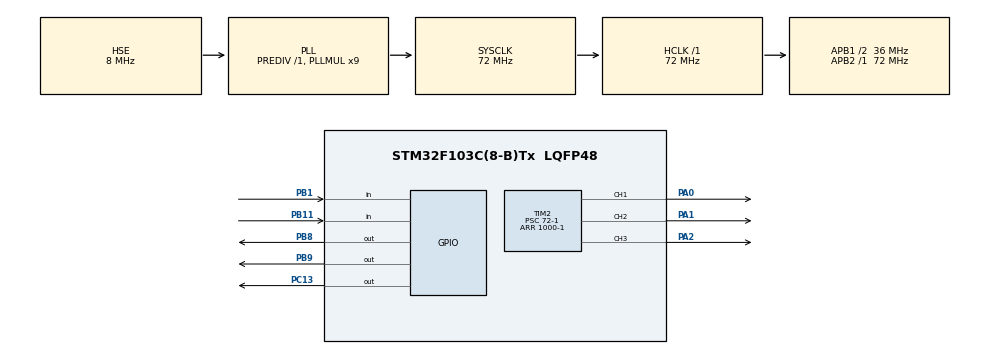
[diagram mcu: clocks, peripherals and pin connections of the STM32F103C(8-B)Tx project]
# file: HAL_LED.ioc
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Mcu.Family=STM32F1
Mcu.Name=STM32F103C(8-B)Tx
Mcu.Package=LQFP48
NVIC.PriorityGroup=NVIC_PRIORITYGROUP_4
NVIC.TIM1_UP_IRQn=true\:0\:0\:false\:false\:true\:true\:true\:true
PA0-WKUP.GPIO_Speed=GPIO_SPEED_FREQ_LOW
PA0-WKUP.Signal=S_TIM2_CH1_ETR
PA1.GPIO_Speed=GPIO_SPEED_FREQ_LOW
PA1.Signal=S_TIM2_CH2
PA13.Mode=Serial_Wire
PA13.Signal=SYS_JTMS-SWDIO
PA14.Mode=Serial_Wire
PA14.Signal=SYS_JTCK-SWCLK
PA2.GPIO_Speed=GPIO_SPEED_FREQ_LOW
PA2.Signal=S_TIM2_CH3
PB1.GPIO_Mode=GPIO_MODE_INPUT
PB1.GPIO_PuPd=GPIO_PULLUP
PB1.Signal=GPIO_Input
PB11.GPIO_PuPd=GPIO_PULLUP
PB11.Signal=GPIO_Input
PB8.GPIO_ModeDefaultOutputPP=GPIO_MODE_OUTPUT_OD
PB8.GPIO_PuPd=GPIO_PULLUP
PB8.GPIO_Speed=GPIO_SPEED_FREQ_MEDIUM
PB8.PinState=GPIO_PIN_SET
PB8.Signal=GPIO_Output
PB9.GPIO_ModeDefaultOutputPP=GPIO_MODE_OUTPUT_OD
PB9.GPIO_PuPd=GPIO_PULLUP
PB9.GPIO_Speed=GPIO_SPEED_FREQ_MEDIUM
PB9.PinState=GPIO_PIN_SET
PB9.Signal=GPIO_Output
PC13-TAMPER-RTC.GPIO_ModeDefaultOutputPP=GPIO_MODE_OUTPUT_OD
PC13-TAMPER-RTC.GPIO_PuPd=GPIO_NOPULL
PC13-TAMPER-RTC.PinState=GPIO_PIN_SET
PC13-TAMPER-RTC.Signal=GPIO_Output
PD0-OSC_IN.Mode=HSE-External-Oscillator
PD0-OSC_IN.Signal=RCC_OSC_IN
PD1-OSC_OUT.Mode=HSE-External-Oscillator
PD1-OSC_OUT.Signal=RCC_OSC_OUT
ProjectManager.HeapSize=0x200
ProjectManager.StackSize=0x400
ProjectManager.TargetToolchain=MDK-ARM V5.32
RCC.AHBFreq_Value=72000000
RCC.APB1CLKDivider=RCC_HCLK_DIV2
RCC.APB1Freq_Value=36000000
RCC.APB1TimFreq_Value=72000000
RCC.APB2Freq_Value=72000000
RCC.APB2TimFreq_Value=72000000
RCC.HCLKFreq_Value=72000000
RCC.PLLMUL=RCC_PLL_MUL9
RCC.PLLSourceVirtual=RCC_PLLSOURCE_HSE
RCC.SYSCLKFreq_VALUE=72000000
RCC.SYSCLKSource=RCC_SYSCLKSOURCE_PLLCLK
RCC.USBFreq_Value=72000000
SH.S_TIM2_CH1_ETR.0=TIM2_CH1,PWM Generation1 CH1
SH.S_TIM2_CH2.0=TIM2_CH2,PWM Generation2 CH2
SH.S_TIM2_CH3.0=TIM2_CH3,PWM Generation3 CH3
TIM1.AutoReloadPreload=TIM_AUTORELOAD_PRELOAD_ENABLE
TIM1.Period=1000-1
TIM1.Prescaler=72-1
TIM2.AutoReloadPreload=TIM_AUTORELOAD_PRELOAD_ENABLE
TIM2.Channel-PWM\ Generation1\ CH1=TIM_CHANNEL_1
TIM2.Channel-PWM\ Generation2\ CH2=TIM_CHANNEL_2
TIM2.Channel-PWM\ Generation3\ CH3=TIM_CHANNEL_3
TIM2.OCPolarity_1=TIM_OCPOLARITY_LOW
TIM2.OCPolarity_2=TIM_OCPOLARITY_LOW
TIM2.OCPolarity_3=TIM_OCPOLARITY_LOW
TIM2.Period=1000-1
TIM2.Prescaler=72-1
TIM2.Pulse-PWM\ Generation1\ CH1=0
TIM2.Pulse-PWM\ Generation2\ CH2=0
TIM2.Pulse-PWM\ Generation3\ CH3=0
TIM3.Period=1000-1
TIM3.Prescaler=72-1
VP_TIM1_VS_ClockSourceINT.Mode=Internal
VP_TIM2_VS_ClockSourceINT.Mode=Internal
VP_TIM3_VS_ClockSourceINT.Mode=Internal
board=custom

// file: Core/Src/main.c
/* USER CODE BEGIN Header */
/**
  ******************************************************************************
  * @file           : main.c
  * @brief          : Main program body
  ******************************************************************************
  * @attention
  *
  * Copyright (c) 2025 STMicroelectronics.
  * All rights reserved.
  *
  * This software is licensed under terms that can be found in the LICENSE file
  * in the root directory of this software component.
  * If no LICENSE file comes with this software, it is provided AS-IS.
  *
  ******************************************************************************
  */
/* USER CODE END Header */
#include "main.h"
#include "tim.h"
#include "gpio.h"

/* USER CODE BEGIN Includes */
#include "math.h"                  // Device header
/* USER CODE END Includes */

/* USER CODE BEGIN PV */
uint16_t Keynum;
uint16_t Keynum1;
uint8_t c;

//quanjubianliang
/* USER CODE END PV */

void SystemClock_Config(void);
/* USER CODE BEGIN PFP */
void Pwm_breath(uint8_t CCRx);
uint16_t Key_getnum1(void);
uint16_t Key_getnum(void);
void pwm_bpm(uint8_t c,uint8_t s);
void Simple_Delay(uint32_t delay);

uint16_t Key_getnum1(void) {
    static uint8_t last_state = 0;
    static uint32_t last_time = 0;
    uint8_t current_state;
    uint32_t current_time = HAL_GetTick();

    current_state = HAL_GPIO_ReadPin(GPIOB, GPIO_PIN_11);

    // 检测按键按下（上升沿）
    if (last_state == 0 && current_state == 1) {
        if ((current_time - last_time) > 20) {
            if(Keynum != 3) {
                Keynum1 = (Keynum1 % 3) + 1;
            } else {
                Keynum1 = (Keynum1 % 4) + 1;
            }
            last_time = current_time;
        }
    }

    last_state = current_state;
    return Keynum1;
}
uint16_t Key_getnum(void) {
    static uint8_t last_state = 0;
    static uint32_t last_time = 0;
    static uint16_t last_Keynum = 0; // 用于记录上一次的Keynum值//用全局变量就不行
    uint8_t current_state;
    uint32_t current_time = HAL_GetTick();

    current_state = HAL_GPIO_ReadPin(GPIOB, GPIO_PIN_1);

    if (last_state == 0 && current_state == 1) {
        if ((current_time - last_time) > 20) {
            Keynum = (Keynum % 3) + 1;
            last_time = current_time;
        }
        if(Keynum != last_Keynum) { // 检测到Keynum变化
            Keynum1 = 1; // Keynum变化，重置Keynum1为1
            last_Keynum = Keynum;
        }
    }

    last_state = current_state;

    return Keynum;
}

void HAL_TIM_PeriodElapsedCallback(TIM_HandleTypeDef *htim)
{
	if(htim == &htim1){
    Key_getnum();
	  Key_getnum1();
	}

}

void Pwm_breath(uint8_t CCRx){
		float t = HAL_GetTick();

		float duty = 0.5*sin(6*3.14*t) + 0.5;

		uint16_t arr = __HAL_TIM_GET_AUTORELOAD(&htim2);

		uint16_t ccr = duty * (arr + 1);
		if(CCRx == 1){
		__HAL_TIM_SET_COMPARE(&htim2, TIM_CHANNEL_1,ccr);
		__HAL_TIM_SET_COMPARE(&htim2, TIM_CHANNEL_2,0);
		__HAL_TIM_SET_COMPARE(&htim2, TIM_CHANNEL_3,0);
		}
		if(CCRx == 2){
		__HAL_TIM_SET_COMPARE(&htim2, TIM_CHANNEL_1,0);
		__HAL_TIM_SET_COMPARE(&htim2, TIM_CHANNEL_2,ccr);
		__HAL_TIM_SET_COMPARE(&htim2, TIM_CHANNEL_3,0);
		}
		if(CCRx == 3){
		__HAL_TIM_SET_COMPARE(&htim2, TIM_CHANNEL_1,0);
		__HAL_TIM_SET_COMPARE(&htim2, TIM_CHANNEL_2,0);
		__HAL_TIM_SET_COMPARE(&htim2, TIM_CHANNEL_3,ccr);
		}
}
void pwm_bpm(uint8_t c,uint8_t s){

	float t = HAL_GetTick();

	float duty = 0.5*sin(s*3.14*t) + 0.5;

	uint16_t arr = __HAL_TIM_GET_AUTORELOAD(&htim2);

	uint16_t ccr = duty * (arr + 1);

	switch(c){
		case 1:{
			__HAL_TIM_SET_COMPARE(&htim2, TIM_CHANNEL_1,ccr);
			__HAL_TIM_SET_COMPARE(&htim2, TIM_CHANNEL_2,0);
			__HAL_TIM_SET_COMPARE(&htim2, TIM_CHANNEL_3,0);
		}break;
		case 2:{
			__HAL_TIM_SET_COMPARE(&htim2, TIM_CHANNEL_1,0);
			__HAL_TIM_SET_COMPARE(&htim2, TIM_CHANNEL_2,ccr);
			__HAL_TIM_SET_COMPARE(&htim2, TIM_CHANNEL_3,0);
		}break;
		case 3:{
			__HAL_TIM_SET_COMPARE(&htim2, TIM_CHANNEL_1,0);
			__HAL_TIM_SET_COMPARE(&htim2, TIM_CHANNEL_2,0);
			__HAL_TIM_SET_COMPARE(&htim2, TIM_CHANNEL_3,ccr);
		}break;
	}
}

/* USER CODE END PFP */

int main(void)
{

  /* MCU Configuration--------------------------------------------------------*/

  /* Reset of all peripherals, Initializes the Flash interface and the Systick. */
  HAL_Init();

  /* Configure the system clock */
  SystemClock_Config();

  /* Initialize all configured peripherals */
  MX_GPIO_Init();
  MX_TIM2_Init();
  MX_TIM1_Init();
  MX_TIM3_Init();
  /* USER CODE BEGIN 2 */
	HAL_Init();
	SystemClock_Config();

	HAL_TIM_Base_Start_IT(&htim2);
	HAL_TIM_Base_Start_IT(&htim1);
	HAL_TIM_Base_Start_IT(&htim3);

	HAL_TIM_PWM_Start(&htim2, TIM_CHANNEL_1);
	HAL_TIM_PWM_Start(&htim2, TIM_CHANNEL_2);
	HAL_TIM_PWM_Start(&htim2, TIM_CHANNEL_3);

  /* USER CODE END 2 */

  /* Infinite loop */
  /* USER CODE BEGIN WHILE */

  while (1)
  {
    switch (Keynum){
    case 1:
		  switch(Keynum1){
		  case 1:
        c = Keynum1;
			  Pwm_breath(1);
			  break;
		  case 2:
        c = Keynum1;
			  Pwm_breath(2);
			  break;
		  case 3:
        c = Keynum1;
			  Pwm_breath(3);
			  break;
	}
      break;
    case 2:
       switch(Keynum1){
        case 1:{
          pwm_bpm(c,6);
        }break;
        case 2:{
          pwm_bpm(c,4);
        }break;
        case 3:{
          pwm_bpm(c,2);
        }break;
  }
      break;
    case 3:
    __HAL_TIM_SET_COMPARE(&htim2, TIM_CHANNEL_1,0);
    __HAL_TIM_SET_COMPARE(&htim2, TIM_CHANNEL_2,0);
    __HAL_TIM_SET_COMPARE(&htim2, TIM_CHANNEL_3,0);

      switch(Keynum1){
    case 1:{
      __HAL_TIM_SET_COMPARE(&htim2, TIM_CHANNEL_1,1000);
      HAL_Delay(100);
      __HAL_TIM_SET_COMPARE(&htim2, TIM_CHANNEL_1,0);
      HAL_Delay(100);
    }break;
    case 2:{
      __HAL_TIM_SET_COMPARE(&htim2, TIM_CHANNEL_2,1000);
      HAL_Delay(100);
      __HAL_TIM_SET_COMPARE(&htim2, TIM_CHANNEL_2,0);
      HAL_Delay(100);
    }break;
    case 3:{
      __HAL_TIM_SET_COMPARE(&htim2, TIM_CHANNEL_3,1000);
      HAL_Delay(100);
      __HAL_TIM_SET_COMPARE(&htim2, TIM_CHANNEL_3,0);
      HAL_Delay(100);
    }break;
    case 4:{
      __HAL_TIM_SET_COMPARE(&htim2, TIM_CHANNEL_1,1000);
      HAL_Delay(100);
      __HAL_TIM_SET_COMPARE(&htim2, TIM_CHANNEL_1,0);
      HAL_Delay(100);
      __HAL_TIM_SET_COMPARE(&htim2, TIM_CHANNEL_2,1000);
      HAL_Delay(100);
      __HAL_TIM_SET_COMPARE(&htim2, TIM_CHANNEL_2,0);
      HAL_Delay(100);
      __HAL_TIM_SET_COMPARE(&htim2, TIM_CHANNEL_3,1000);
      HAL_Delay(100);
      __HAL_TIM_SET_COMPARE(&htim2, TIM_CHANNEL_3,0);
    }
  }
      break;
    }

    /* USER CODE END WHILE */

  }
}

void SystemClock_Config(void)
{
  RCC_OscInitTypeDef RCC_OscInitStruct = {0};
  RCC_ClkInitTypeDef RCC_ClkInitStruct = {0};

  /** Initializes the RCC Oscillators according to the specified parameters
  * in the RCC_OscInitTypeDef structure.
  */
  RCC_OscInitStruct.OscillatorType = RCC_OSCILLATORTYPE_HSE;
  RCC_OscInitStruct.HSEState = RCC_HSE_ON;
  RCC_OscInitStruct.HSEPredivValue = RCC_HSE_PREDIV_DIV1;
  RCC_OscInitStruct.HSIState = RCC_HSI_ON;
  RCC_OscInitStruct.PLL.PLLState = RCC_PLL_ON;
  RCC_OscInitStruct.PLL.PLLSource = RCC_PLLSOURCE_HSE;
  RCC_OscInitStruct.PLL.PLLMUL = RCC_PLL_MUL9;
  if (HAL_RCC_OscConfig(&RCC_OscInitStruct) != HAL_OK)
  {
    Error_Handler();
  }

  /** Initializes the CPU, AHB and APB buses clocks
  */
  RCC_ClkInitStruct.ClockType = RCC_CLOCKTYPE_HCLK|RCC_CLOCKTYPE_SYSCLK
                              |RCC_CLOCKTYPE_PCLK1|RCC_CLOCKTYPE_PCLK2;
  RCC_ClkInitStruct.SYSCLKSource = RCC_SYSCLKSOURCE_PLLCLK;
  RCC_ClkInitStruct.AHBCLKDivider = RCC_SYSCLK_DIV1;
  RCC_ClkInitStruct.APB1CLKDivider = RCC_HCLK_DIV2;
  RCC_ClkInitStruct.APB2CLKDivider = RCC_HCLK_DIV1;

  if (HAL_RCC_ClockConfig(&RCC_ClkInitStruct, FLASH_LATENCY_2) != HAL_OK)
  {
    Error_Handler();
  }
}

void Error_Handler(void)
{
  __disable_irq();
  while (1)
  {
  }
}
